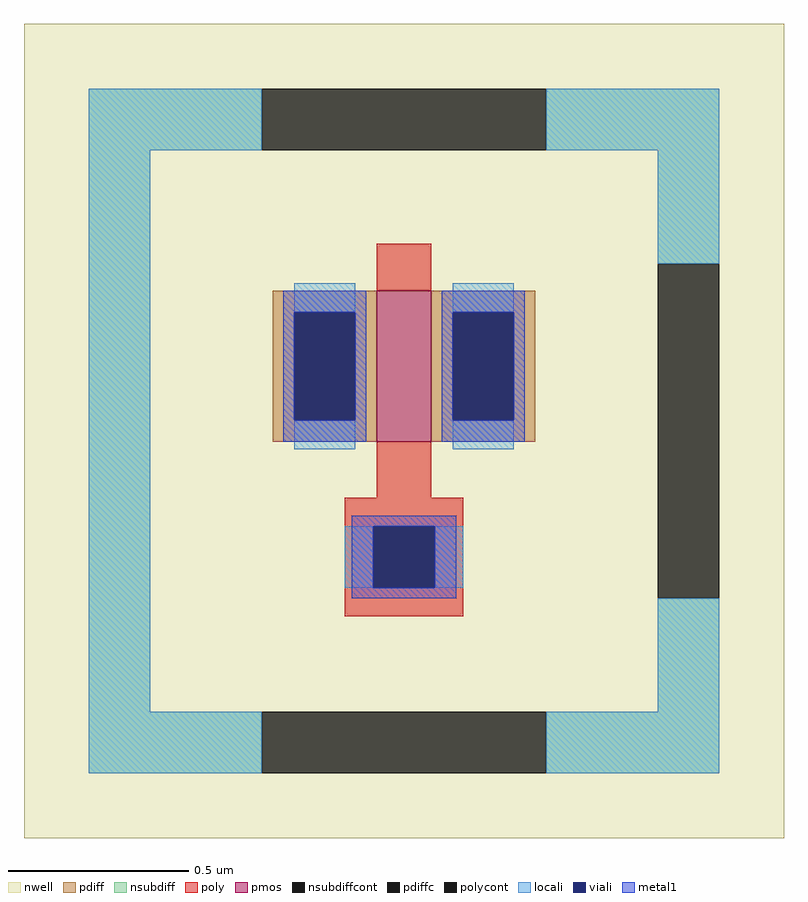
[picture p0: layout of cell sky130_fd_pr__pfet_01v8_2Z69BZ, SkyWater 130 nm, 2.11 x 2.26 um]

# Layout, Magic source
magic
tech sky130A
magscale 1 2
<< nwell >>
rect -211 -226 211 226
<< pmos >>
rect -15 -6 15 78
<< pdiff >>
rect -73 66 -15 78
rect -73 6 -61 66
rect -27 6 -15 66
rect -73 -6 -15 6
rect 15 66 73 78
rect 15 6 27 66
rect 61 6 73 66
rect 15 -6 73 6
<< pdiffc >>
rect -61 6 -27 66
rect 27 6 61 66
<< nsubdiff >>
rect -175 156 -79 190
rect 79 156 175 190
rect -175 -156 -141 156
rect 141 93 175 156
rect 141 -156 175 -93
rect -175 -190 -79 -156
rect 79 -190 175 -156
<< nsubdiffcont >>
rect -79 156 79 190
rect 141 -93 175 93
rect -79 -190 79 -156
<< poly >>
rect -15 78 15 104
rect -15 -37 15 -6
rect -33 -53 33 -37
rect -33 -87 -17 -53
rect 17 -87 33 -53
rect -33 -103 33 -87
<< polycont >>
rect -17 -87 17 -53
<< locali >>
rect -175 156 -79 190
rect 79 156 175 190
rect -175 -156 -141 156
rect 141 93 175 156
rect -61 66 -27 82
rect -61 -10 -27 6
rect 27 66 61 82
rect 27 -10 61 6
rect -33 -87 -17 -53
rect 17 -87 33 -53
rect 141 -156 175 -93
rect -175 -190 -79 -156
rect 79 -190 175 -156
<< viali >>
rect -61 6 -27 66
rect 27 6 61 66
rect -17 -87 17 -53
<< metal1 >>
rect -67 66 -21 78
rect -67 6 -61 66
rect -27 6 -21 66
rect -67 -6 -21 6
rect 21 66 67 78
rect 21 6 27 66
rect 61 6 67 66
rect 21 -6 67 6
rect -29 -53 29 -47
rect -29 -87 -17 -53
rect 17 -87 29 -53
rect -29 -93 29 -87
<< properties >>
string FIXED_BBOX -158 -173 158 173
string gencell sky130_fd_pr__pfet_01v8
string library sky130
string parameters w 0.42 l 0.15 m 1 nf 1 diffcov 100 polycov 100 guard 1 glc 0 grc 1 gtc 1 gbc 1 tbcov 100 rlcov 100 topc 0 botc 1 poverlap 0 doverlap 1 lmin 0.15 wmin 0.42 compatible {sky130_fd_pr__pfet_01v8  sky130_fd_pr__pfet_01v8_lvt sky130_fd_pr__pfet_01v8_hvt  sky130_fd_pr__pfet_g5v0d10v5} full_metal 1 viasrc 100 viadrn 100 viagate 100 viagb 0 viagr 0 viagl 0 viagt 0
<< end >>
